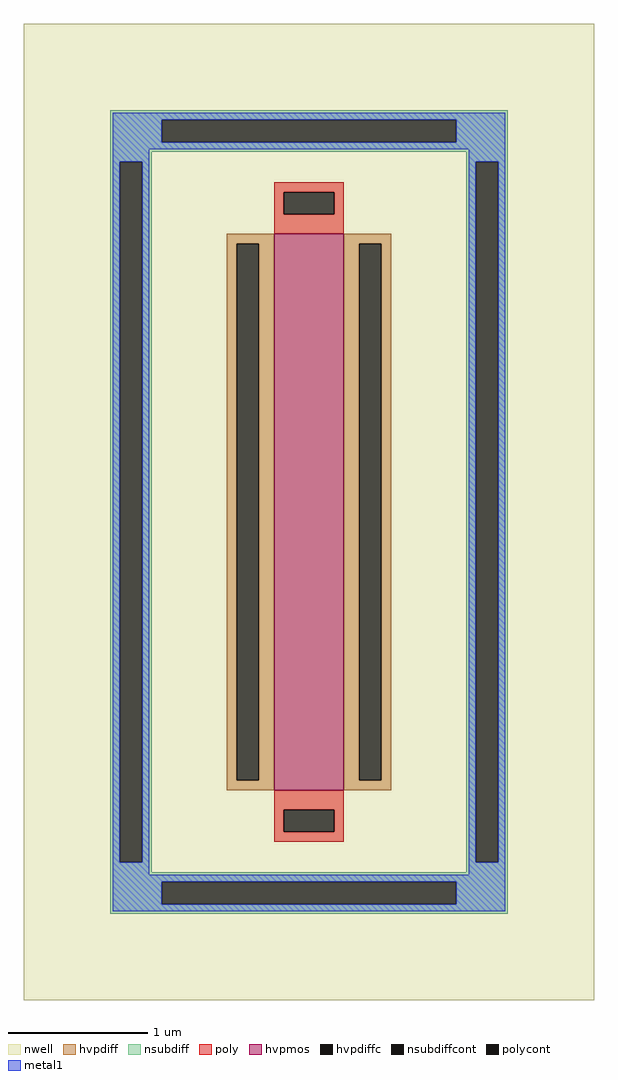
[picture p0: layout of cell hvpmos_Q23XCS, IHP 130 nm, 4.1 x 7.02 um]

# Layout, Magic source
magic
tech ihp-sg13g2
<< nwell >>
rect -205 -351 205 351
<< hvpmos >>
rect -25 -200 25 200
<< hvpdiff >>
rect -59 193 -25 200
rect -59 -193 -52 193
rect -36 -193 -25 193
rect -59 -200 -25 -193
rect 25 193 59 200
rect 25 -193 36 193
rect 52 -193 59 193
rect 25 -200 59 -193
<< hvpdiffc >>
rect -52 -193 -36 193
rect 36 -193 52 193
<< nsubdiff >>
rect -143 282 143 289
rect -143 266 -106 282
rect 106 266 143 282
rect -143 259 143 266
rect -143 252 -113 259
rect -143 -252 -136 252
rect -120 -252 -113 252
rect 113 252 143 259
rect -143 -259 -113 -252
rect 113 -252 120 252
rect 136 -252 143 252
rect 113 -259 143 -252
rect -143 -266 143 -259
rect -143 -282 -106 -266
rect 106 -282 143 -266
rect -143 -289 143 -282
<< nsubdiffcont >>
rect -106 266 106 282
rect -136 -252 -120 252
rect 120 -252 136 252
rect -106 -282 106 -266
<< poly >>
rect -25 230 25 237
rect -25 214 -18 230
rect 18 214 25 230
rect -25 200 25 214
rect -25 -214 25 -200
rect -25 -230 -18 -214
rect 18 -230 25 -214
rect -25 -237 25 -230
<< polycont >>
rect -18 214 18 230
rect -18 -230 18 -214
<< metal1 >>
rect -141 282 141 287
rect -141 266 -106 282
rect 106 266 141 282
rect -141 261 141 266
rect -141 252 -115 261
rect -141 -252 -136 252
rect -120 -252 -115 252
rect 115 252 141 261
rect -141 -261 -115 -252
rect 115 -252 120 252
rect 136 -252 141 252
rect 115 -261 141 -252
rect -141 -266 141 -261
rect -141 -282 -106 -266
rect 106 -282 141 -266
rect -141 -287 141 -282
<< properties >>
string gencell hvpmos
string library sg13g2_devstdin
string parameters w 4 l 0.5 nf 1 nx 1 dx 0.21 ny 1 dy 0.18 wmin 0.50 lmin 0.50 class mosfet gcontcov_t 100 gcontcov_b 100 dcontcov_l 100 dcontcov_r 100 guard_distf 1 glc 1 grc 1 gtc 1 gbc 1
<< end >>
